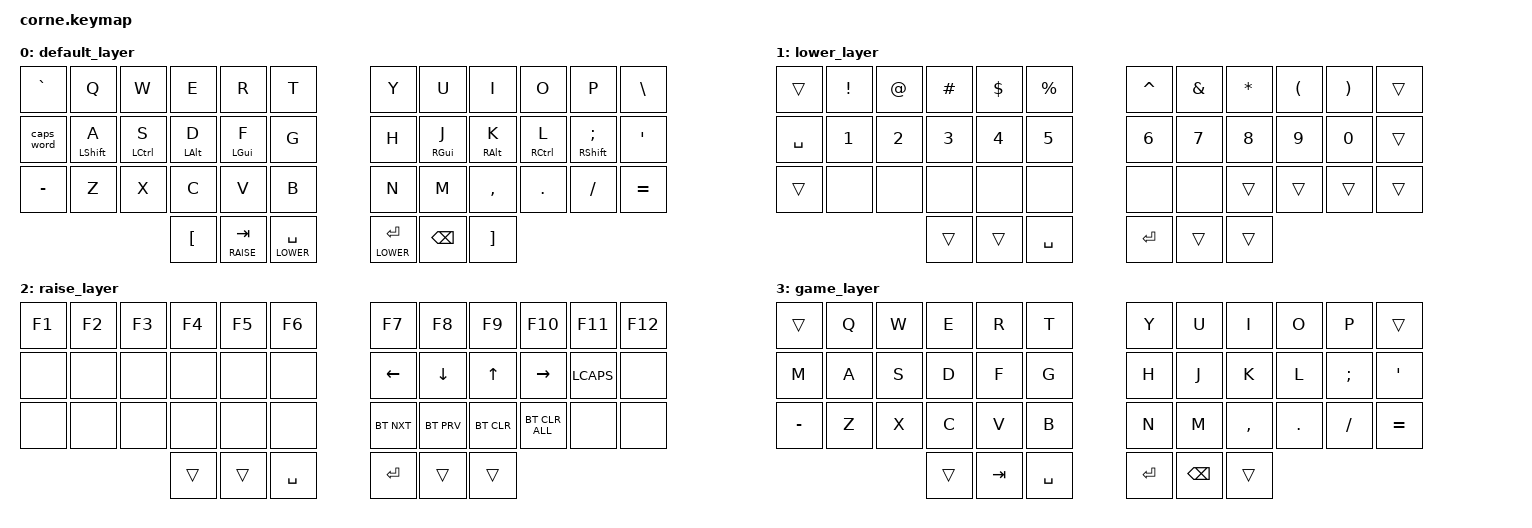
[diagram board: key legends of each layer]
/*
 * Copyright (c) 2020 The ZMK Contributors
 *
 * SPDX-License-Identifier: MIT
 */

#include <behaviors.dtsi>
#include <dt-bindings/zmk/keys.h>
#include <dt-bindings/zmk/bt.h>
#include <dt-bindings/zmk/pointing.h>
#define DEFAULT 0
#define LOWER   1
#define RAISE   2
#define GAME    3

&lt {
    tapping-term-ms = <200>;
    flavor = "tap-preferred";
};

&mt {
    tapping-term-ms = <200>;
    flavor = "tap-preferred";
};

&caps_word {
    continue-list = <UNDERSCORE LSHFT MINUS BACKSPACE>;
    mods = <(MOD_LSFT)>;
};

/ {
        combos {
            compatible = "zmk,combos";
            combo_esc {
                timeout-ms = <80>; 
                key-positions = <19 20>; 
                bindings = <&kp ESC>;
                layers = <0>;
            };
            combo_game_mode {
                timeout-ms = <70>; 
                key-positions = <19 20 21 22>; 
                bindings = <&tog GAME>;
                layers = <0 3>;
            };
        };

        keymap {
                compatible = "zmk,keymap";

                default_layer {
                        bindings = <
        &kp GRAVE   &kp Q         &kp W       &kp E       &kp R        &kp T        &kp Y  &kp U         &kp I       &kp O      &kp P             &kp BSLH
        &caps_word  &mt LSHIFT A  &mt LCTRL S &mt LALT D  &mt LGUI F   &kp G        &kp H  &mt RGUI J    &mt RALT K &mt RCTRL L &mt RSHIFT SEMI   &kp SQT
        &kp MINUS   &kp Z         &kp X       &kp C       &kp V        &kp B        &kp N  &kp M         &kp COMMA   &kp DOT    &kp FSLH          &kp EQUAL
                                    &kp LBKT   &lt RAISE TAB &lt LOWER SPACE        &lt LOWER RET        &kp BSPC    &kp RBKT
                        >;
                };

                lower_layer {
                        bindings = <
   &trans     &kp EXCL      &kp AT       &kp HASH     &kp DLLR      &kp PRCNT         &kp CARET  &kp AMPS       &kp ASTRK     &kp LPAR     &kp RPAR       &trans
   &kp SPACE  &kp N1        &kp N2       &kp N3       &kp N4        &kp N5            &kp N6     &kp N7         &kp N8        &kp N9       &kp N0         &trans
   &trans     &none         &none        &none        &none         &none             &none      &none          &trans        &trans       &trans         &trans
                                         &trans       &trans        &kp SPACE         &kp RET    &trans         &trans
                        >;
                };

                raise_layer {
                        bindings = <
   &kp  F1   &kp F2   &kp F3   &kp F4  &kp F5  &kp F6           &kp F7     &kp F8     &kp F9     &kp F10        &kp F11   &kp F12
   &none     &none    &none    &none   &none   &none            &kp LEFT   &kp DOWN   &kp UP     &kp RIGHT      &kp LCAPS &none
   &none     &none    &none    &none   &none   &none            &bt BT_NXT &bt BT_PRV &bt BT_CLR &bt BT_CLR_ALL &none     &none
                               &trans  &trans  &kp SPACE        &kp RET   &trans    &trans
                        >;
                };

                game_layer {
                        bindings = <
        &trans    &kp Q         &kp W       &kp E      &kp R      &kp T        &kp Y  &kp U       &kp I      &kp O       &kp P          &trans
        &kp M      &kp A         &kp S       &kp D      &kp F      &kp G        &kp H  &kp J       &kp K      &kp L       &kp SEMI       &kp SQT
        &kp MINUS  &kp Z         &kp X       &kp C      &kp V      &kp B        &kp N  &kp M       &kp COMMA  &kp DOT     &kp FSLH       &kp EQUAL
                                              &trans &kp TAB &kp SPACE        &kp RET &kp BSPC &trans
                        >;
                };
        };
};
